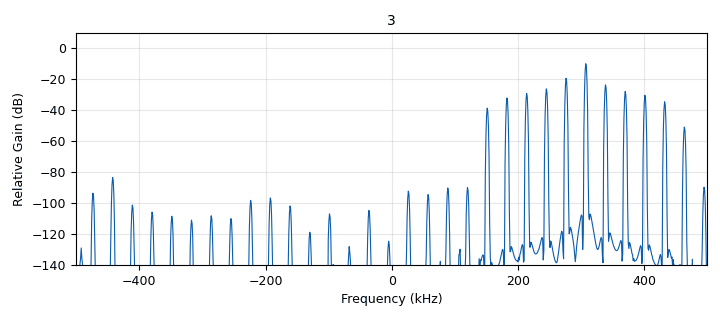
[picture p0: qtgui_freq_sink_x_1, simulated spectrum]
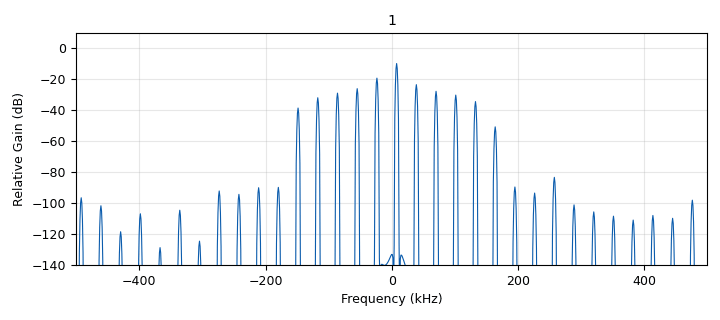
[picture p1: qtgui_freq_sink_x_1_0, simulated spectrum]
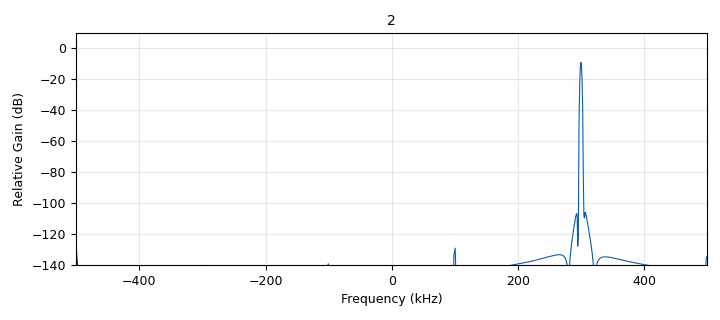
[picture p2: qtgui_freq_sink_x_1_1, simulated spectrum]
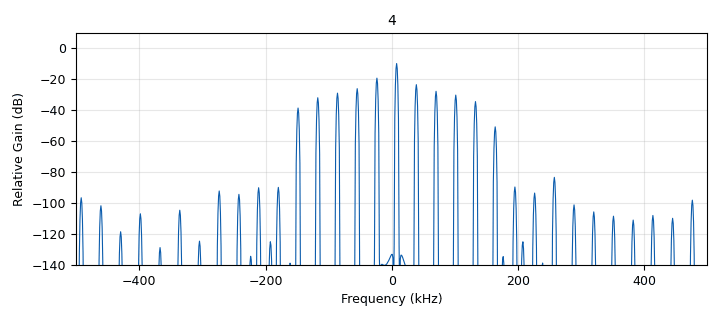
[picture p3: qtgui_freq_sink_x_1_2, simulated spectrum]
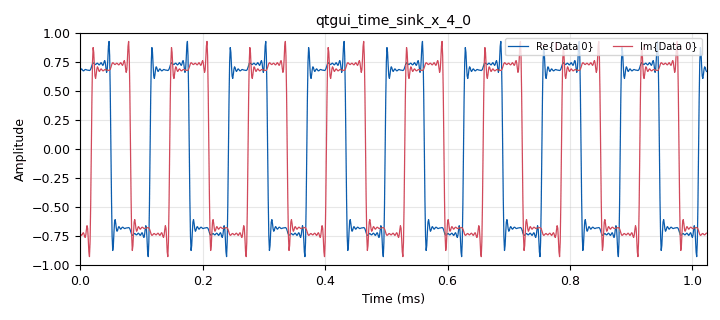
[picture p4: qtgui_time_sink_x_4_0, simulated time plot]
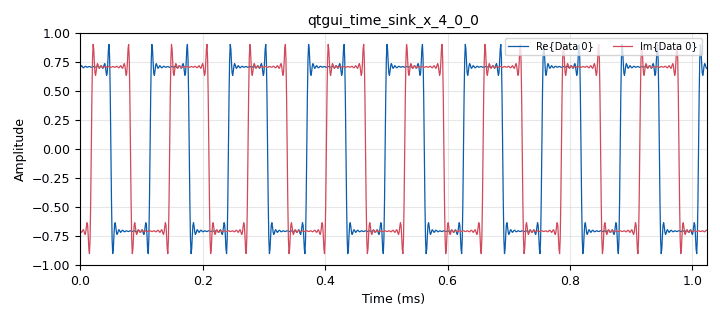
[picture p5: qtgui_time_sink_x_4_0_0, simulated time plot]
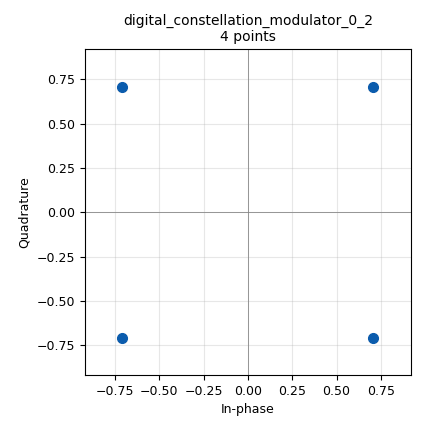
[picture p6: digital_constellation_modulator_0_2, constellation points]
options:
  parameters:
    author: iar
    generate_options: qt_gui
    id: QPSK_simulation_3TX
    output_language: python
    title: QPSK Simulation 3TX
  states: {}

blocks:
- name: SHA160
  id: variable
  parameters:
    comment: Binary of SHA1-160 bits(I am a leigitimate device)
    value: '[1,0,1,1,0,1,1,0,1,1,1,1,1,1,0,0,1,0,1,1,0,1,0,1,1,1,1,0,1,0,1,1,0,1,1,0,1,1,1,1,1,1,0,1,0,1,1,1,0,1,0,1,1,1,1,1,1,0,0,1,1,0,0,0,0,0,0,0,0,1,0,1,0,1,1,1,1,1,0,0,0,1,0,1,1,1,0,1,1,0,0,0,1,1,0,0,1,1,1,1,1,1,0,1,1,1,0,0,1,0,0,0,0,1,0,0,0,0,0,0,1,1,0,0,0,0,0,1,0,1,1,1,0,1,0,1,0,0,1,0,0,0,1,1,1,0,1,1,0,0,0,1,1,0,1,1,0,0,0,1]'
  states: {}
- name: Tx_gain
  id: variable_qtgui_range
  parameters:
    start: '0'
    step: '0.000001'
    stop: '1'
    value: '0'
  states: {}
- name: arity
  id: variable
  parameters:
    value: '4'
  states: {}
- name: attacker_gain
  id: variable_qtgui_range
  parameters:
    start: '0'
    step: '0.000001'
    stop: '1'
    value: '0'
  states: {}
- name: centerfreq
  id: variable
  parameters:
    value: 2.4e9
  states: {}
- name: data
  id: variable
  parameters:
    value: '[0]*4+[1,0,1,0]'
  states: {}
- name: delay
  id: variable_qtgui_range
  parameters:
    rangeType: int
    start: '0'
    step: '1'
    stop: '1000'
    value: '0'
  states: {}
- name: excess_bw
  id: variable
  parameters:
    value: '0.35'
  states: {}
- name: fre
  id: variable_qtgui_range
  parameters:
    rangeType: int
    start: '600000'
    step: '1'
    stop: '800000'
    value: '700000'
  states: {}
- name: freq_off
  id: variable_qtgui_range
  parameters:
    gui_hint: 1,0,1,1
    label: Freq. Off.
    start: '-0.25'
    step: '0.0001'
    stop: '0.25'
    value: '0'
  states: {}
- name: nfilts
  id: variable
  parameters:
    value: '32'
  states: {}
- name: noise
  id: variable_qtgui_range
  parameters:
    gui_hint: 0,1,1,1
    label: Noise Power
    start: '-50'
    step: '1'
    stop: '10'
    value: '-30'
  states: {}
- name: path_loss
  id: variable_qtgui_range
  parameters:
    gui_hint: 0,0,1,1
    label: Path Loss (dB)
    start: '0'
    step: '5'
    stop: '140'
    value: '30'
  states: {}
- name: phase_bw
  id: variable_qtgui_range
  parameters:
    label: 'Phase: Bandwidth'
    start: '0.0'
    step: '0.01'
    stop: '1.0'
    value: 6.28/100.0
    widget: slider
  states: {}
- name: preamble
  id: variable
  parameters:
    value: '[0x70, 0x72, 0x65, 0x61, 0x6D, 0x62, 0x6C, 0x65]'
  states: {}
- name: preamble_0
  id: variable
  parameters:
    value: '[0x70, 0x72, 0x65, 0x61, 0x6D, 0x62, 0x6C, 0x65]+[0]*50'
  states: {}
- name: qpsk
  id: variable_constellation_rect
  parameters:
    const_points: '[0.707+0.707j, -0.707+0.707j, -0.707-0.707j, 0.707-0.707j]'
    imag_sect: '2'
    real_sect: '2'
    rot_sym: '4'
    sym_map: '[0, 1, 2, 3]'
    w_imag_sect: '1'
    w_real_sect: '1'
  states: {}
- name: receive_gain
  id: variable_qtgui_range
  parameters:
    start: '0'
    step: '0.000001'
    stop: '1'
    value: '0.6'
  states: {}
- name: rrc_taps
  id: variable
  parameters:
    value: firdes.root_raised_cosine(nfilts, nfilts, 1.0/float(sps), 0.35, 11*sps*nfilts)
  states: {}
- name: samp_rate
  id: variable
  parameters:
    value: 1e6
  states: {}
- name: sps
  id: variable
  parameters:
    value: '4'
  states: {}
- name: time_off
  id: variable_qtgui_range
  parameters:
    gui_hint: 1,1,1,1
    label: Time Off.
    start: '0.9999'
    step: '0.00001'
    stop: '1.0001'
    value: '1.0'
  states: {}
- name: timing_loop_bw
  id: variable_qtgui_range
  parameters:
    label: 'Time: BW'
    start: '0.0'
    step: '0.01'
    stop: '0.2'
    value: 6.28/100.0
    widget: slider
  states: {}
- name: variable_adaptive_algorithm
  id: variable_adaptive_algorithm
  parameters:
    cons: qpsk
    modulus: '4'
    step_size: '.0001'
    type: cma
  states: {}
- name: analog_sig_source_x_0
  id: analog_sig_source_x
  parameters:
    amp: '1'
    freq: '300000'
    offset: '0'
    phase: '0'
    samp_rate: samp_rate
    type: complex
    waveform: analog.GR_COS_WAVE
  states: {}
- name: analog_sig_source_x_0_0
  id: analog_sig_source_x
  parameters:
    amp: '1'
    freq: fre
    offset: '0'
    phase: '0'
    samp_rate: samp_rate
    type: complex
    waveform: analog.GR_COS_WAVE
  states: {state: disabled}
- name: analog_sig_source_x_0_0_0
  id: analog_sig_source_x
  parameters:
    amp: '1'
    freq: '700000'
    offset: '0'
    phase: '0'
    samp_rate: samp_rate
    type: complex
    waveform: analog.GR_SIN_WAVE
  states: {}
- name: blocks_char_to_float_0
  id: blocks_char_to_float
  parameters:
    scale: '1'
  states: {state: disabled}
- name: blocks_char_to_float_0_0
  id: blocks_char_to_float
  parameters:
    scale: '1'
  states: {state: disabled}
- name: blocks_char_to_float_0_0_0
  id: blocks_char_to_float
  parameters:
    scale: '1'
  states: {state: disabled}
- name: blocks_char_to_float_0_0_0_0
  id: blocks_char_to_float
  parameters:
    scale: '1'
  states: {state: disabled}
- name: blocks_delay_0
  id: blocks_delay
  parameters:
    delay: delay
    type: complex
  states: {state: disabled}
- name: blocks_file_source_1
  id: blocks_file_source
  parameters:
    file: C:\Users\AISECLAB\Desktop\AISECLAB_mmWave\qpsk_2\attacker_8.data
    repeat: 'True'
    type: complex
  states: {state: disabled}
- name: blocks_multiply_xx_0
  id: blocks_multiply_xx
  parameters:
    type: complex
  states: {}
- name: blocks_multiply_xx_1
  id: blocks_multiply_xx
  parameters:
    type: complex
  states: {}
- name: blocks_pack_k_bits_bb_0
  id: blocks_pack_k_bits_bb
  parameters:
    k: '8'
  states: {state: disabled}
- name: blocks_unpack_k_bits_bb_0
  id: blocks_unpack_k_bits_bb
  parameters:
    k: '2'
  states: {state: disabled}
- name: blocks_unpack_k_bits_bb_0_0
  id: blocks_unpack_k_bits_bb
  parameters:
    k: '2'
  states: {state: disabled}
- name: blocks_unpack_k_bits_bb_0_0_0
  id: blocks_unpack_k_bits_bb
  parameters:
    k: '2'
  states: {state: disabled}
- name: blocks_vector_source_x_0
  id: blocks_vector_source_x
  parameters:
    repeat: 'True'
    type: byte
    vector: '[0,1]'
  states: {}
- name: digital_constellation_modulator_0_1
  id: digital_constellation_modulator
  parameters:
    constellation: qpsk
    differential: 'True'
    excess_bw: excess_bw
    samples_per_symbol: sps
  states: {state: disabled}
- name: digital_constellation_modulator_0_2
  id: digital_constellation_modulator
  parameters:
    constellation: qpsk
    differential: 'True'
    excess_bw: excess_bw
    samples_per_symbol: sps
  states: {}
- name: digital_constellation_receiver_cb_0
  id: digital_constellation_receiver_cb
  parameters:
    constellation: qpsk
    fmax: '0'
    fmin: '0'
    loop_bw: excess_bw
  states: {state: disabled}
- name: digital_constellation_receiver_cb_0_0
  id: digital_constellation_receiver_cb
  parameters:
    constellation: qpsk
    fmax: '0'
    fmin: '0'
    loop_bw: excess_bw
  states: {state: disabled}
- name: digital_constellation_receiver_cb_0_1
  id: digital_constellation_receiver_cb
  parameters:
    constellation: qpsk
    fmax: '0'
    fmin: '0'
    loop_bw: excess_bw
  states: {state: disabled}
- name: digital_costas_loop_cc_0
  id: digital_costas_loop_cc
  parameters:
    order: arity
    w: phase_bw
  states: {state: disabled}
- name: digital_diff_decoder_bb_0
  id: digital_diff_decoder_bb
  parameters:
    coding: digital.DIFF_DIFFERENTIAL
    modulus: '4'
  states: {state: disabled}
- name: digital_diff_decoder_bb_0_0
  id: digital_diff_decoder_bb
  parameters:
    coding: digital.DIFF_DIFFERENTIAL
    modulus: '4'
  states: {state: disabled}
- name: digital_linear_equalizer_0
  id: digital_linear_equalizer
  parameters:
    alg: variable_adaptive_algorithm
    num_taps: '15'
    sps: '2'
    training_sequence: preamble
  states: {state: disabled}
- name: digital_map_bb_0
  id: digital_map_bb
  parameters:
    map: '[0,1,2,3]'
  states: {state: disabled}
- name: digital_map_bb_0_0
  id: digital_map_bb
  parameters:
    map: '[0,1,2,3]'
  states: {state: disabled}
- name: digital_map_bb_0_0_0
  id: digital_map_bb
  parameters:
    map: '[0,1,2,3]'
  states: {state: disabled}
- name: digital_pfb_clock_sync_xxx_0
  id: digital_pfb_clock_sync_xxx
  parameters:
    filter_size: nfilts
    init_phase: nfilts/2
    loop_bw: timing_loop_bw
    max_dev: '1.5'
    osps: '2'
    sps: sps
    taps: rrc_taps
    type: ccf
  states: {state: disabled}
- name: import_0
  id: import
  parameters:
    imports: import math
  states: {}
- name: note_0
  id: note
  parameters:
    comment: |-
      The CMA equalizer has been
      replaced by a Linear Equalizer
      and an Adaptive Algorithm for
      version 3.9
    note: CMA equalizer replaced
  states: {}
- name: qtgui_const_sink_x_0
  id: qtgui_const_sink_x
  parameters:
    name: '"D5 constellation after processing"'
    size: '1024'
    type: complex
  states: {state: disabled}
- name: qtgui_freq_sink_x_0
  id: qtgui_freq_sink_x
  parameters:
    bw: samp_rate
    fc: '0'
    fftsize: '1024'
    type: complex
  states: {state: disabled}
- name: qtgui_freq_sink_x_1
  id: qtgui_freq_sink_x
  parameters:
    bw: samp_rate
    fc: '0'
    fftsize: '1024'
    name: '"3"'
    type: complex
  states: {}
- name: qtgui_freq_sink_x_1_0
  id: qtgui_freq_sink_x
  parameters:
    bw: samp_rate
    fc: '0'
    fftsize: '1024'
    name: '"1"'
    type: complex
  states: {}
- name: qtgui_freq_sink_x_1_1
  id: qtgui_freq_sink_x
  parameters:
    bw: samp_rate
    fc: '0'
    fftsize: '1024'
    name: '"2"'
    type: complex
  states: {}
- name: qtgui_freq_sink_x_1_2
  id: qtgui_freq_sink_x
  parameters:
    bw: samp_rate
    fc: '0'
    fftsize: '1024'
    name: '"4"'
    type: complex
  states: {}
- name: qtgui_time_sink_x_0
  id: qtgui_time_sink_x
  parameters:
    ctrlpanel: 'True'
    marker1: '0'
    size: '1024'
    srate: samp_rate
    stemplot: 'True'
    type: float
  states: {state: disabled}
- name: qtgui_time_sink_x_0_0
  id: qtgui_time_sink_x
  parameters:
    ctrlpanel: 'True'
    gui_hint: 2,1,1,1
    label1: Tx Bits
    label2: D3
    name: raw
    size: '128'
    srate: samp_rate
    tr_mode: qtgui.TRIG_MODE_AUTO
    type: complex
    ymax: '2'
  states: {state: disabled}
- name: qtgui_time_sink_x_0_0_0_0
  id: qtgui_time_sink_x
  parameters:
    ctrlpanel: 'True'
    gui_hint: 2,1,1,1
    label1: Tx Bits
    name: '2'
    size: '128'
    srate: samp_rate
    tr_mode: qtgui.TRIG_MODE_AUTO
    type: float
    ymax: '2'
  states: {state: disabled}
- name: qtgui_time_sink_x_0_1
  id: qtgui_time_sink_x
  parameters:
    ctrlpanel: 'True'
    marker1: '0'
    size: '1024'
    srate: samp_rate
    stemplot: 'True'
    type: float
  states: {state: disabled}
- name: qtgui_time_sink_x_1
  id: qtgui_time_sink_x
  parameters:
    ctrlpanel: 'True'
    name: '"1"'
    size: '1024'
    srate: samp_rate
    type: complex
  states: {state: disabled}
- name: qtgui_time_sink_x_1_0
  id: qtgui_time_sink_x
  parameters:
    ctrlpanel: 'True'
    name: '"3"'
    size: '1024'
    srate: samp_rate
    type: complex
  states: {state: disabled}
- name: qtgui_time_sink_x_3
  id: qtgui_time_sink_x
  parameters:
    ctrlpanel: 'True'
    name: '"2"'
    size: '1024'
    srate: samp_rate
    type: complex
  states: {state: disabled}
- name: qtgui_time_sink_x_4
  id: qtgui_time_sink_x
  parameters:
    size: '1024'
    srate: samp_rate
    type: float
  states: {state: disabled}
- name: qtgui_time_sink_x_4_0
  id: qtgui_time_sink_x
  parameters:
    ctrlpanel: 'True'
    size: '1024'
    srate: samp_rate
    type: complex
  states: {}
- name: qtgui_time_sink_x_4_0_0
  id: qtgui_time_sink_x
  parameters:
    ctrlpanel: 'True'
    size: '1024'
    srate: samp_rate
    type: complex
  states: {}
- name: uhd_usrp_sink_0_0_1
  id: uhd_usrp_sink
  parameters:
    ant0: '"TX/RX"'
    bw0: 22e6
    center_freq0: centerfreq
    dev_addr: '"addr = 192.168.10.8"'
    gain0: attacker_gain
    gain_type0: normalized
    samp_rate: samp_rate
    sync: pc_clock
    type: fc32
  states: {state: disabled}
- name: uhd_usrp_source_0
  id: uhd_usrp_source
  parameters:
    ant0: '"TX/RX"'
    bw0: 22e6
    center_freq0: centerfreq
    comment: 'RX D4: Receiving bit'
    dev_addr: '"addr = 192.168.10.3"'
    gain0: receive_gain
    gain_type0: normalized
    samp_rate: samp_rate
    sync: pc_clock
    type: fc32
  states: {state: disabled}

connections:
- [analog_sig_source_x_0, '0', blocks_multiply_xx_0, '1']
- [analog_sig_source_x_0, '0', qtgui_freq_sink_x_1_1, '0']
- [analog_sig_source_x_0_0_0, '0', blocks_multiply_xx_1, '1']
- [blocks_char_to_float_0, '0', qtgui_time_sink_x_0, '0']
- [blocks_char_to_float_0_0, '0', qtgui_time_sink_x_0_1, '0']
- [blocks_char_to_float_0_0_0, '0', qtgui_time_sink_x_0_0_0_0, '0']
- [blocks_char_to_float_0_0_0_0, '0', qtgui_time_sink_x_4, '0']
- [blocks_delay_0, '0', uhd_usrp_sink_0_0_1, '0']
- [blocks_file_source_1, '0', digital_constellation_receiver_cb_0_0, '0']
- [blocks_file_source_1, '0', qtgui_time_sink_x_0_0, '0']
- [blocks_multiply_xx_0, '0', blocks_multiply_xx_1, '0']
- [blocks_multiply_xx_0, '0', qtgui_freq_sink_x_1, '0']
- [blocks_multiply_xx_1, '0', qtgui_freq_sink_x_1_2, '0']
- [blocks_multiply_xx_1, '0', qtgui_time_sink_x_4_0, '0']
- [blocks_pack_k_bits_bb_0, '0', digital_constellation_modulator_0_1, '0']
- [blocks_unpack_k_bits_bb_0, '0', blocks_char_to_float_0, '0']
- [blocks_unpack_k_bits_bb_0_0, '0', blocks_char_to_float_0_0, '0']
- [blocks_unpack_k_bits_bb_0_0, '0', blocks_pack_k_bits_bb_0, '0']
- [blocks_unpack_k_bits_bb_0_0_0, '0', blocks_char_to_float_0_0_0_0, '0']
- [blocks_vector_source_x_0, '0', digital_constellation_modulator_0_2, '0']
- [digital_constellation_modulator_0_1, '0', blocks_delay_0, '0']
- [digital_constellation_modulator_0_1, '0', qtgui_time_sink_x_1, '0']
- [digital_constellation_modulator_0_2, '0', blocks_multiply_xx_0, '0']
- [digital_constellation_modulator_0_2, '0', qtgui_freq_sink_x_1_0, '0']
- [digital_constellation_modulator_0_2, '0', qtgui_time_sink_x_4_0_0, '0']
- [digital_constellation_receiver_cb_0, '0', digital_diff_decoder_bb_0, '0']
- [digital_constellation_receiver_cb_0_0, '0', digital_diff_decoder_bb_0_0, '0']
- [digital_constellation_receiver_cb_0_1, '0', blocks_char_to_float_0_0_0, '0']
- [digital_constellation_receiver_cb_0_1, '0', digital_map_bb_0_0_0, '0']
- [digital_costas_loop_cc_0, '0', digital_constellation_receiver_cb_0, '0']
- [digital_costas_loop_cc_0, '0', qtgui_const_sink_x_0, '0']
- [digital_costas_loop_cc_0, '0', qtgui_freq_sink_x_0, '0']
- [digital_costas_loop_cc_0, '0', qtgui_time_sink_x_1_0, '0']
- [digital_diff_decoder_bb_0, '0', digital_map_bb_0, '0']
- [digital_diff_decoder_bb_0_0, '0', digital_map_bb_0_0, '0']
- [digital_linear_equalizer_0, '0', digital_costas_loop_cc_0, '0']
- [digital_map_bb_0, '0', blocks_unpack_k_bits_bb_0, '0']
- [digital_map_bb_0_0, '0', blocks_unpack_k_bits_bb_0_0, '0']
- [digital_map_bb_0_0_0, '0', blocks_unpack_k_bits_bb_0_0_0, '0']
- [digital_pfb_clock_sync_xxx_0, '0', digital_linear_equalizer_0, '0']
- [uhd_usrp_source_0, '0', digital_pfb_clock_sync_xxx_0, '0']
- [uhd_usrp_source_0, '0', qtgui_time_sink_x_3, '0']

metadata:
  file_format: 1
  grc_version: 3.10.5.1
